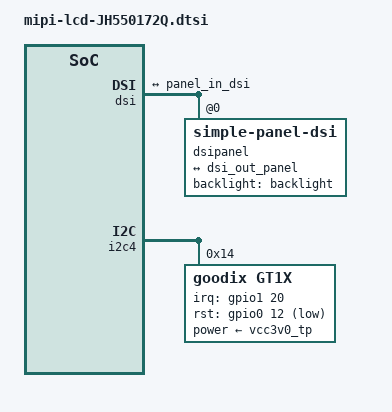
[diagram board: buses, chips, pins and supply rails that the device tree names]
/*
 * Copyright (c) 2022 Biandenhuo Co., Ltd
 */

&dsi {
	//rockchip,lane-rate = <420>;     // 62MHz(Pixel Clock) * 3(Pixel Clock Divider) * 2 (Double Data Rate) = 372Mbps
	status = "okay";

	dsipanel:panel@0 {
		compatible = "simple-panel-dsi";
		reg = <0>;
		backlight = <&backlight>;

		/*reset-gpios = <&gpio4 29 GPIO_ACTIVE_LOW>;*/      /*GPIO4_D5*/
		/*enable-gpios = <&gpio4 22 GPIO_ACTIVE_HIGH>;*/     /*GPIO4_C6*/

		prepare-delay-ms = <20>;
		reset-delay-ms = <20>;
		init-delay-ms = <20>;
		enable-delay-ms = <20>;
		disable-delay-ms = <20>;
		unprepare-delay-ms = <20>;
		
		dsi,flags = <(MIPI_DSI_MODE_VIDEO | MIPI_DSI_MODE_VIDEO_BURST)>;
		dsi,format = <MIPI_DSI_FMT_RGB888>;
		dsi,lanes = <4>;

                /*JH550172Q ILI9881D_F055A15*/
                panel-init-sequence = [
                                39 00 04 FF 98 81 03 
                                15 00 02 01 00 
                                15 00 02 02 00 
                                15 00 02 03 53 
                                15 00 02 04 53 
                                15 00 02 05 13 
                                15 00 02 06 04 
                                15 00 02 07 02 
                                15 00 02 08 02 
                                15 00 02 09 00 
                                15 00 02 0a 00 
                                15 00 02 0b 00 
                                15 00 02 0c 00 
                                15 00 02 0d 00 
                                15 00 02 0e 00 
                                15 00 02 0f 00 
                                15 00 02 10 00 
                                15 00 02 11 00 
                                15 00 02 12 00 
                                15 00 02 13 00 
                                15 00 02 14 00 
                                15 00 02 15 08 
                                15 00 02 16 10 
                                15 00 02 17 00 
                                15 00 02 18 08 
                                15 00 02 19 00 
                                15 00 02 1a 00 
                                15 00 02 1b 00 
                                15 00 02 1c 00 
                                15 00 02 1d 00 
                                15 00 02 1e C0 
                                15 00 02 1f 80 
                                15 00 02 20 02 
                                15 00 02 21 09 
                                15 00 02 22 00 
                                15 00 02 23 00 
                                15 00 02 24 00 
                                15 00 02 25 00 
                                15 00 02 26 00 
                                15 00 02 27 00 
                                15 00 02 28 55 
                                15 00 02 29 03 
                                15 00 02 2a 00 
                                15 00 02 2b 00 
                                15 00 02 2c 00 
                                15 00 02 2d 00 
                                15 00 02 2e 00 
                                15 00 02 2f 00 
                                15 00 02 30 00 
                                15 00 02 31 00 
                                15 00 02 32 00 
                                15 00 02 33 00 
                                15 00 02 34 04 
                                15 00 02 35 05 
                                15 00 02 36 05 
                                15 00 02 37 00 
                                15 00 02 38 3C 
                                15 00 02 39 35 
                                15 00 02 3a 00 
                                15 00 02 3b 40 
                                15 00 02 3c 00 
                                15 00 02 3d 00 
                                15 00 02 3e 00 
                                15 00 02 3f 00 
                                15 00 02 40 00 
                                15 00 02 41 88 
                                15 00 02 42 00 
                                15 00 02 43 00 
                                15 00 02 44 1f 
                                15 00 02 50 01 
                                15 00 02 51 23 
                                15 00 02 52 45 
                                15 00 02 53 67 
                                15 00 02 54 89 
                                15 00 02 55 ab 
                                15 00 02 56 01 
                                15 00 02 57 23 
                                15 00 02 58 45 
                                15 00 02 59 67 
                                15 00 02 5a 89 
                                15 00 02 5b ab 
                                15 00 02 5c cd 
                                15 00 02 5d ef 
                                15 00 02 5e 03 
                                15 00 02 5f 14 
                                15 00 02 60 15 
                                15 00 02 61 0C 
                                15 00 02 62 0D 
                                15 00 02 63 0E 
                                15 00 02 64 0F 
                                15 00 02 65 10 
                                15 00 02 66 11 
                                15 00 02 67 08 
                                15 00 02 68 02 
                                15 00 02 69 0A 
                                15 00 02 6a 02 
                                15 00 02 6b 02 
                                15 00 02 6c 02 
                                15 00 02 6d 02 
                                15 00 02 6e 02 
                                15 00 02 6f 02 
                                15 00 02 70 02 
                                15 00 02 71 02 
                                15 00 02 72 06 
                                15 00 02 73 02 
                                15 00 02 74 02 
                                15 00 02 75 14 
                                15 00 02 76 15 
                                15 00 02 77 0F 
                                15 00 02 78 0E 
                                15 00 02 79 0D 
                                15 00 02 7a 0C 
                                15 00 02 7b 11 
                                15 00 02 7c 10 
                                15 00 02 7d 06 
                                15 00 02 7e 02 
                                15 00 02 7f 0A 
                                15 00 02 80 02 
                                15 00 02 81 02 
                                15 00 02 82 02 
                                15 00 02 83 02 
                                15 00 02 84 02 
                                15 00 02 85 02 
                                15 00 02 86 02 
                                15 00 02 87 02 
                                15 00 02 88 08 
                                15 00 02 89 02 
                                15 00 02 8A 02 
                                39 00 04 FF 98 81 04 
                                15 00 02 70 00 
                                15 00 02 71 00 
                                15 00 02 66 FE 
                                15 00 02 82 15 
                                15 00 02 84 15 
                                15 00 02 85 15 
                                15 00 02 3A 24 
                                15 00 02 32 AC 
                                15 00 02 8C 80 
                                15 00 02 3C F5 
                                15 00 02 88 33 
                                39 00 04 FF 98 81 01 
                                15 00 02 22 0A 
                                15 00 02 31 00 
                                15 00 02 53 80
                                15 00 02 55 88
                                15 00 02 50 5B 
                                15 00 02 51 5B 
                                15 00 02 60 1B
                                15 00 02 61 00 
                                15 00 02 62 0D 
                                15 00 02 63 00 
                                15 00 02 A0 00 
                                15 00 02 A1 1D 
                                15 00 02 A2 2A 
                                15 00 02 A3 14 
                                15 00 02 A4 18 
                                15 00 02 A5 2B 
                                15 00 02 A6 1F 
                                15 00 02 A7 1F 
                                15 00 02 A8 81 
                                15 00 02 A9 1B 
                                15 00 02 AA 27 
                                15 00 02 AB 6B 
                                15 00 02 AC 17 
                                15 00 02 AD 13 
                                15 00 02 AE 48 
                                15 00 02 AF 1E 
                                15 00 02 B0 26 
                                15 00 02 B1 57 
                                15 00 02 B2 69 
                                15 00 02 B3 39 
                                15 00 02 C0 00 
                                15 00 02 C1 1C 
                                15 00 02 C2 2A 
                                15 00 02 C3 13 
                                15 00 02 C4 18 
                                15 00 02 C5 2B 
                                15 00 02 C6 1E 
                                15 00 02 C7 1F 
                                15 00 02 C8 81 
                                15 00 02 C9 1B 
                                15 00 02 CA 27 
                                15 00 02 CB 6C 
                                15 00 02 CC 16 
                                15 00 02 CD 14 
                                15 00 02 CE 48 
                                15 00 02 CF 1E 
                                15 00 02 D0 26 
                                15 00 02 D1 57 
                                15 00 02 D2 69 
                                15 00 02 D3 39 
                                39 00 04 FF 98 81 00 
                                15 00 02 35 00
                                15 78 02 11 00
                                15 64 02 29 00
                ];

                display-timings {
                        native-mode = <&timing0>;
                        timing0: timing0 {
                                clock-frequency = <68000000>;
                                hactive = <720>;
                                vactive = <1280>;

                                hsync-len = <50>;
                                hback-porch = <50>;
                                hfront-porch = <50>;

                                vsync-len = <4>;
                                vback-porch = <4>;
                                vfront-porch = <10>;

                                hsync-active = <0>;
                                vsync-active = <0>;
                                de-active = <0>;
                                pixelclk-active = <0>;
                        };
                        /* timing1 is ok, but not same with second lcd */
                        timing1: timing1 {
                                clock-frequency = <61620000>;
                                hactive = <720>;
                                vactive = <1280>;

                                hsync-len = <20>;
                                hback-porch = <20>;
                                hfront-porch = <30>;

                                vsync-len = <2>;
                                vback-porch = <5>;
                                vfront-porch = <13>;

                                hsync-active = <0>;
                                vsync-active = <0>;
                                de-active = <0>;
                                pixelclk-active = <0>;
                        };
                };

		ports {
			#address-cells = <1>;
			#size-cells = <0>;
			
			port@0 {
			        reg = <0>;
			        panel_in_dsi: endpoint {
			                remote-endpoint = <&dsi_out_panel>;
			        };
			};
		};

	};

	ports {
		#address-cells = <1>;
		#size-cells = <0>;
		port@1 {
			reg = <1>;
			dsi_out_panel: endpoint {
				remote-endpoint = <&panel_in_dsi>;
			};
		};
	};

};

&i2c4 {
	gt1x: gt1x@14 {
	    compatible = "goodix,gt1x";
	    reg = <0x14>;
	    goodix,irq-gpio = <&gpio1 20 IRQ_TYPE_EDGE_FALLING>; /*GPIO1_C4*/
	    goodix,rst-gpio = <&gpio0 12 GPIO_ACTIVE_LOW>; /*GPIO0_B4*/
	    goodix,ic_type = "gt1151q";
            pinctrl-names = "default";
            pinctrl-0 = <&touch_io>;
	    power-supply = <&vcc3v0_tp>;
	};
};
